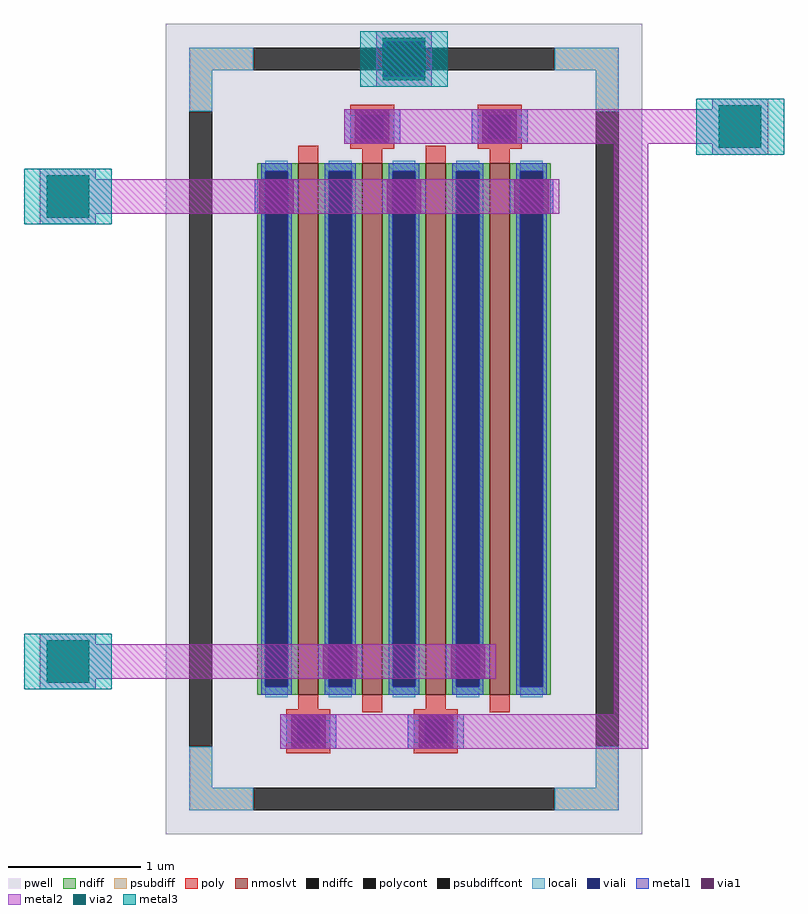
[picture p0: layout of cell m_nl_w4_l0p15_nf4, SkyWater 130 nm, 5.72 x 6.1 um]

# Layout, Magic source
magic
tech sky130A
magscale 1 2
<< metal1 >>
rect -225 324 -159 376
rect -33 324 33 376
rect 159 324 225 376
rect -129 -376 -63 -324
rect 63 -376 129 -324
rect -90 429 -6 481
rect 102 429 186 481
rect -186 -481 -102 -429
rect 6 -481 90 -429
rect -32 531 32 583
<< via1 >>
rect -218 324 -166 376
rect -26 324 26 376
rect 166 324 218 376
rect -122 -376 -70 -324
rect 70 -376 122 -324
rect -74 429 -22 481
rect 118 429 170 481
rect -170 -481 -118 -429
rect 22 -481 74 -429
rect -26 531 26 583
<< metal2 >>
rect -225 324 -159 376
rect -33 324 33 376
rect 159 324 225 376
rect -129 -376 -63 -324
rect 63 -376 129 -324
rect -234 324 234 376
rect -138 -376 138 -324
rect -90 429 -6 481
rect 102 429 186 481
rect -90 429 368 481
rect -186 -481 -102 -429
rect 6 -481 90 -429
rect -186 -481 368 -429
rect 316 -481 368 481
rect -548 324 -192 376
rect -548 -376 -96 -324
rect 316 429 548 481
rect -42 515 42 599
rect -548 308 -464 392
rect -548 -392 -464 -308
rect 464 413 548 497
<< viali >>
rect -17 540 17 574
<< via2 >>
rect -538 318 -474 382
rect -538 -382 -474 -318
rect 474 423 538 487
rect -32 525 32 589
<< metal3 >>
rect -572 308 -440 392
rect -572 -392 -440 -308
rect 440 413 572 497
rect -66 515 66 599
use g_nl_w4_l0p15_nf4 d
transform 1 0 0 0 1 0
box -306 -557 306 557
<< end >>

# cell g_nl_w4_l0p15_nf4: kit device sky130_fd_pr__nfet_01v8_lvt, w 4 l 0.15 m 1 nf 4 diffcov 100 polycov 100 guard 1 glc 1 grc 1 gtc 1 gbc 1 tbcov 100 rlcov 100 topc 1 botc 1 poverlap 0 doverlap 1 lmin 0.15 wmin 0.42 class mosfet compatible {sky130_fd_pr__nfet_01v8 sky130_fd_pr__nfet_01v8_lvt sky130_fd_bs_flash__special_sonosfet_star sky130_fd_pr__nfet_g5v0d10v5 sky130_fd_pr__nfet_05v0_nvt sky130_fd_pr__nfet_03v3_nvt} full_metal 1 viasrc 100 viadrn 100 viagate 100 viagb 0 viagr 0 viagl 0 viagt 0
